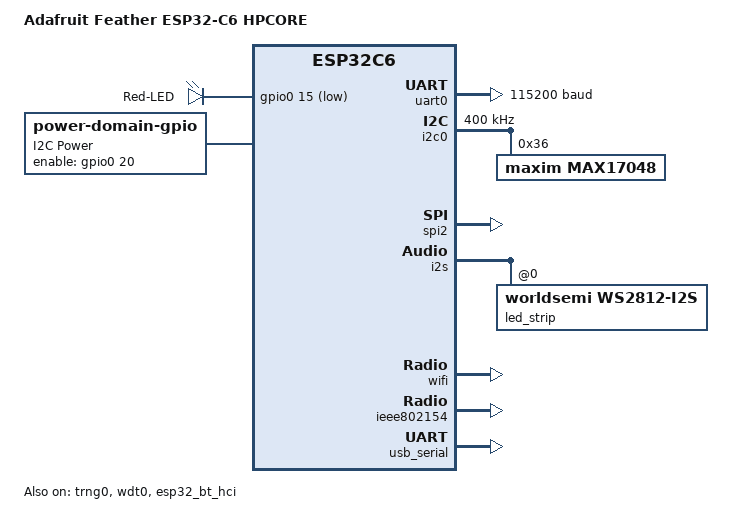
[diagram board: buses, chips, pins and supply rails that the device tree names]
/*
 * Copyright (c) 2025 Philipp Steiner <philipp.steiner1987@gmail.com>
 * Copyright (c) 2026 Hong Nguyen <hong.nguyen.k54@gmail.com>
 *
 * SPDX-License-Identifier: Apache-2.0
 */

/dts-v1/;

#include <espressif/esp32c6/esp32c6_mini_n4.dtsi>
#include "adafruit_feather_esp32c6_hpcore-pinctrl.dtsi"
#include "adafruit_feather_esp32c6_connector.dtsi"
#include <zephyr/dt-bindings/input/input-event-codes.h>
#include <zephyr/dt-bindings/led/led.h>
#include <espressif/partitions_0x0_default.dtsi>

/ {
	model = "Adafruit Feather ESP32-C6 HPCORE";
	compatible = "espressif,esp32c6";

	chosen {
		zephyr,sram = &sramhp;
		zephyr,console = &usb_serial;
		zephyr,shell-uart = &usb_serial;
		zephyr,flash = &flash0;
		zephyr,code-partition = &slot0_partition;
		zephyr,ieee802154 = &ieee802154;
	};

	aliases {
		led0 = &led0;
		sw0 = &user_button;
		watchdog0 = &wdt0;
		i2c-0 = &i2c0;
		led-strip = &led_strip;
		fuel-gauge0 = &max17048;
	};

	leds {
		compatible = "gpio-leds";
		status = "okay";

		led0: led_0 {
			label = "Red-LED";
			gpios = <&gpio0 15 GPIO_ACTIVE_LOW>;
		};
	};

	gpio_keys {
		compatible = "gpio-keys";
		/*
		 * SW1/BOOT shares IO9 with the NeoPixel; enable only if
		 * the NeoPixel (led_strip) is disabled.
		 */
		status = "disabled";

		user_button: user_button {
			label = "BOOT SW1";
			gpios = <&gpio0 9 (GPIO_PULL_UP | GPIO_ACTIVE_LOW)>;
			zephyr,code = <INPUT_KEY_0>;
		};
	};

	i2c_pwr: i2c_pwr {
		label = "I2C Power";
		compatible = "power-domain-gpio";
		#power-domain-cells = <0>;
		enable-gpios = <&gpio0 20 GPIO_ACTIVE_HIGH>;
		startup-delay-us = <10>;
	};
};

&uart0 {
	status = "okay";
	current-speed = <115200>;
	pinctrl-0 = <&uart0_default>;
	pinctrl-names = "default";
};

&trng0 {
	status = "okay";
};

&i2c0 {
	status = "okay";
	clock-frequency = <I2C_BITRATE_FAST>;
	pinctrl-0 = <&i2c0_default>;
	pinctrl-names = "default";

	max17048: max17048@36 {
		compatible = "maxim,max17048";
		status = "okay";
		reg = <0x36>;
		power-domains = <&i2c_pwr>;
	};
};

&spi2 {
	#address-cells = <1>;
	#size-cells = <0>;
	status = "okay";
	pinctrl-0 = <&spim2_default>;
	pinctrl-names = "default";
};

&i2s {
	pinctrl-0 = <&i2s_ws2812_led>;
	pinctrl-names = "default";
	status = "okay";

	led_strip: ws2812_strip@0 {
		compatible = "worldsemi,ws2812-i2s";
		reg = <0>;
		power-domains = <&i2c_pwr>;
		chain-length = <1>;
		color-mapping = <LED_COLOR_ID_GREEN
				 LED_COLOR_ID_RED
				 LED_COLOR_ID_BLUE>;
	};
};

&gpio0 {
	status = "okay";
};

&wdt0 {
	status = "okay";
};

&wifi {
	status = "okay";
};

&ieee802154 {
	status = "okay";
};

&esp32_bt_hci {
	status = "okay";
};

&usb_serial {
	status = "okay";
};

&dma {
	status = "okay";
};
